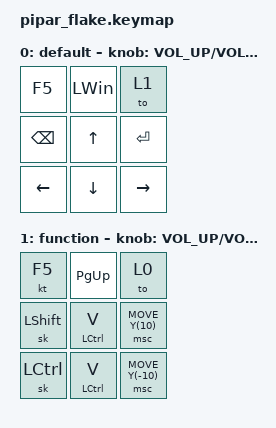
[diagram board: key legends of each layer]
/*
 * Copyright (c) 2022 The ZMK Contributors
 *
 * SPDX-License-Identifier: MIT
 */

#include <behaviors.dtsi>
#include <dt-bindings/zmk/keys.h>
#include <dt-bindings/zmk/pointing.h>

#define BASE        0
#define FUNC        1

/ {
    sensors: sensors {
        compatible = "zmk,keymap-sensors";
        sensors = <&encoder_1>;
        triggers-per-rotation = <24>;
    };

    macros {
        new_macro: new_macro {
            compatible = "zmk,behavior-macro";
            #binding-cells = <0>;
            bindings = <&none>;
            label = "NEW_MACRO";
        };
    };

    keymap {
        compatible = "zmk,keymap";

        default_layer {
            // ---------------------------//
            // | Q    | W     | ENCODER | //
            // | A    | S     | D       | //
            // | Z    | X     | FN      | //

            display-name = "default";
            bindings = <
&kp F5          &kp LEFT_WIN    &to 1
&kp BACKSPACE   &kp UP_ARROW    &kp ENTER
&kp LEFT_ARROW  &kp DOWN_ARROW  &kp RIGHT_ARROW
            >;

            sensor-bindings = <&inc_dec_kp C_VOLUME_UP C_VOLUME_DOWN>;
        };

        function_layer {
            // --------------------------- //
            // | BT_CLR | none | ENCODER | //
            // | BT_0   | BT_1 | BT_2    | //
            // | BT_3   | BT_4 | trans   | //

            display-name = "function";
            bindings = <
&kt F5          &kp PG_UP    &to 0
&sk LEFT_SHIFT  &mt LCTRL V  &msc MOVE_Y(10)
&sk LCTRL       &mt LCTRL V  &msc MOVE_Y(-10)
            >;

            sensor-bindings = <&inc_dec_kp C_VOLUME_UP C_VOLUME_DOWN>;
        };
    };
};
